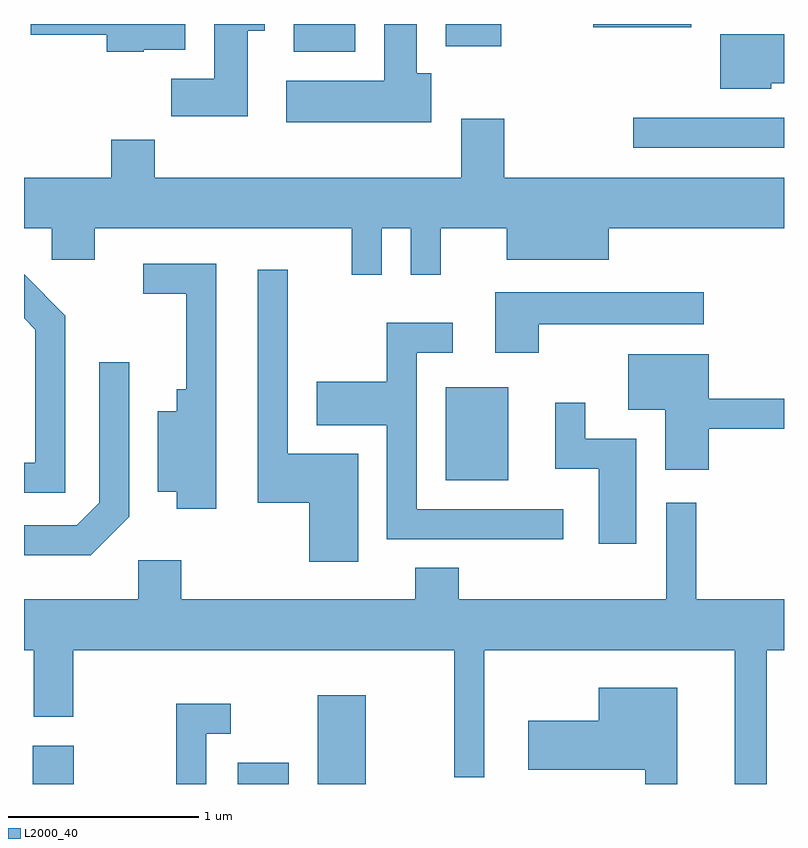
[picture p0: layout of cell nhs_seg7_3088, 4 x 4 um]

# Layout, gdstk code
import gdstk
lib = gdstk.Library(unit=1e-6, precision=1e-09)
def R(c, l, rs):  # rectangles x0, y0, x1, y1
    for r in rs: c.add(gdstk.rectangle(r[:2], r[2:], *l))
def P(c, l, *ps):  # polygons
    for p in ps: c.add(gdstk.Polygon(p, *l))
L2000_40 = (2000, 40)

nhs_seg7_3088 = lib.new_cell('nhs_seg7_3088')
R(nhs_seg7_3088, L2000_40, [(279.656,1740.252,279.874,1740.454), (280.736,1740.252,281.004,1740.364), (281.156,1740.252,281.409,1740.719), (281.831,1741.851,282.159,1742.339), (282.818,1743.601,283.611,1743.759), (281.031,1744.106,281.354,1744.252), (281.831,1744.136,282.124,1744.252), (282.606,1744.236,283.124,1744.252)])
P(nhs_seg7_3088, L2000_40, [(280.789,1744.216),(280.879,1744.216),(280.879,1744.252),(280.611,1744.252),(280.611,1743.964),(280.386,1743.964),(280.386,1743.766),(280.789,1743.766)],
  [(280.24,1744.116),(280.459,1744.116),(280.459,1744.252),(279.646,1744.252),(279.646,1744.196),(280.046,1744.196),(280.046,1744.106),(280.24,1744.106)],
  [(281.754,1743.994),(281.679,1743.994),(281.679,1744.252),(281.506,1744.252),(281.506,1743.954),(280.991,1743.954),(280.991,1743.736),(281.754,1743.736)],
  [(283.544,1743.941),(283.611,1743.941),(283.611,1744.199),(283.276,1744.199),(283.276,1743.911),(283.544,1743.911)],
  [(280.299,1743.644),(280.071,1743.644),(280.071,1743.444),(279.611,1743.444),(279.611,1743.176),(279.756,1743.176),(279.756,1743.011),(279.984,1743.011),(279.984,1743.176),(281.336,1743.176),(281.336,1742.933),(281.494,1742.933),(281.494,1743.176),(281.646,1743.176),(281.646,1742.933),(281.804,1742.933),(281.804,1743.176),(282.151,1743.176),(282.151,1743.011),(282.689,1743.011),(282.689,1743.176),(283.611,1743.176),(283.611,1743.444),(282.139,1743.444),(282.139,1743.754),(281.911,1743.754),(281.911,1743.444),(280.299,1743.444)],
  [(280.624,1742.989),(280.238,1742.989),(280.238,1742.831),(280.466,1742.831),(280.466,1742.329),(280.416,1742.329),(280.416,1742.214),(280.316,1742.214),(280.316,1741.791),(280.416,1741.791),(280.416,1741.701),(280.624,1741.701)],
  [(281.369,1741.989),(280.999,1741.989),(280.999,1742.958),(280.841,1742.958),(280.841,1741.731),(281.111,1741.731),(281.111,1741.421),(281.369,1741.421)],
  [(279.829,1742.717),(279.611,1742.935),(279.611,1742.704),(279.671,1742.644),(279.671,1741.944),(279.611,1741.944),(279.611,1741.786),(279.829,1741.786)],
  [(282.319,1742.671),(283.188,1742.671),(283.188,1742.839),(282.091,1742.839),(282.091,1742.521),(282.319,1742.521)],
  [(282.448,1741.699),(281.679,1741.699),(281.679,1742.521),(281.868,1742.521),(281.868,1742.679),(281.521,1742.679),(281.521,1742.369),(281.151,1742.369),(281.151,1742.141),(281.521,1742.141),(281.521,1741.541),(282.448,1741.541)],
  [(283.214,1742.121),(283.611,1742.121),(283.611,1742.279),(283.214,1742.279),(283.214,1742.514),(282.791,1742.514),(282.791,1742.221),(282.986,1742.221),(282.986,1741.906),(283.214,1741.906)],
  [(280.164,1741.659),(280.164,1742.473),(280.006,1742.473),(280.006,1741.732),(279.889,1741.614),(279.611,1741.614),(279.611,1741.456),(279.962,1741.456)],
  [(282.834,1742.069),(282.564,1742.069),(282.564,1742.258),(282.406,1742.258),(282.406,1741.911),(282.636,1741.911),(282.636,1741.516),(282.834,1741.516)],
  [(283.149,1741.733),(282.991,1741.733),(282.991,1741.224),(281.899,1741.224),(281.899,1741.389),(281.671,1741.389),(281.671,1741.224),(280.439,1741.224),(280.439,1741.429),(280.211,1741.429),(280.211,1741.224),(279.611,1741.224),(279.611,1740.956),(279.661,1740.956),(279.661,1740.606),(279.869,1740.606),(279.869,1740.956),(281.876,1740.956),(281.876,1740.288),(282.034,1740.288),(282.034,1740.956),(283.351,1740.956),(283.351,1740.252),(283.519,1740.252),(283.519,1740.956),(283.611,1740.956),(283.611,1741.224),(283.149,1741.224)],
  [(283.049,1740.759),(282.636,1740.759),(282.636,1740.584),(282.266,1740.584),(282.266,1740.326),(282.881,1740.326),(282.881,1740.252),(283.049,1740.252)],
  [(280.569,1740.516),(280.698,1740.516),(280.698,1740.674),(280.411,1740.674),(280.411,1740.252),(280.569,1740.252)])

lib.write_gds('nhs_seg7_3088.gds')
